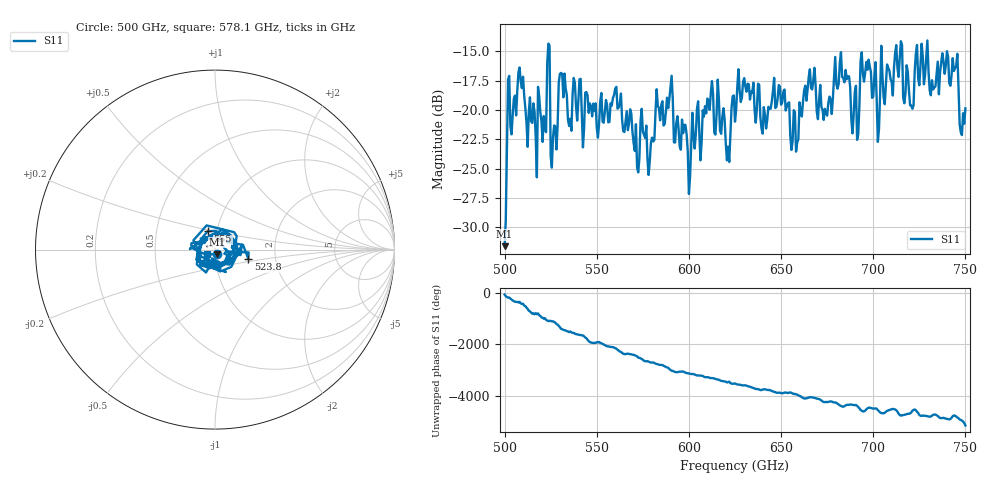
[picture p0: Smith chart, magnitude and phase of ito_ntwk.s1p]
!Created with skrf (http://scikit-rf.org).
# GHz S RI R 50.0
!freq ReS11 ImS11
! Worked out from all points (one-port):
!   401 points, 500 GHz to 750 GHz, reference 50 ohm
!   lowest |S11| = -31.6 dB at 500 GHz (marker M1), VSWR 1.05, Z = 51 - j2.45 ohm
!   |S11| at or under -10 dB: start of sweep to end of sweep
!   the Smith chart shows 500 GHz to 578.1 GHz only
!   S11 on the Smith chart (normalised r, x): 500 GHz: 1.02, -0.05; 523.8 GHz: 1.45, -0.15; 555 GHz: 0.91, +0.19; 578.1 GHz: 0.91, -0.05
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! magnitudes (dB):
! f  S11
! 500 GHz  -31.6
! 503.1 GHz  -21.4
! 508.8 GHz  -17.6
! 521.2 GHz  -20.5
! 523.8 GHz  -14.3
! 526.2 GHz  -22.4
! 531.2 GHz  -16.9
! 535 GHz  -21.4
! 555 GHz  -19.1
! 562.5 GHz  -19.4
! 578.1 GHz  -25.5
! 589.4 GHz  -19.0
! 593.8 GHz  -20.5
! 600 GHz  -27.2
! 611.9 GHz  -18.6
! 621.2 GHz  -23.1
! 625 GHz  -21.0
! 650 GHz  -19.5
! 656.2 GHz  -22.7
! 666.9 GHz  -18.2
! 687.5 GHz  -18.1
! 697.5 GHz  -15.7
! 702.5 GHz  -22.7
! 713.8 GHz  -17.2
! 718.8 GHz  -16.7
! 744.4 GHz  -16.4
! 748.1 GHz  -22.1
! 750 GHz  -19.9
